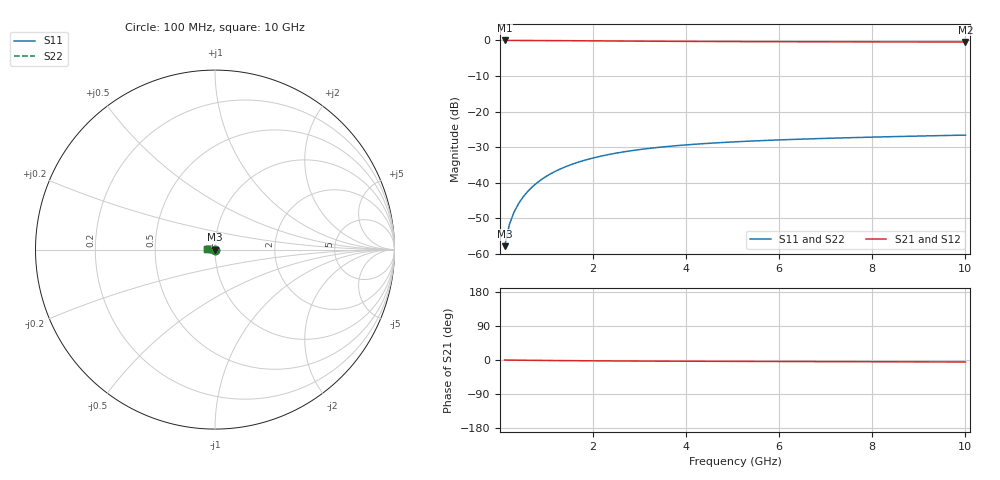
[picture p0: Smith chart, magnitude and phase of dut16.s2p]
! Touchstone file exported from HFSS 2024.1.0
!  File:  C:/UserFiles/LocalFiles/RDL_TSV_Batchsim/temp_TSV1_16_1779368674.aedt
!  Generated:  09:12:09 PM May 21, 2026
!  Design:  TSV1
!  Project:  temp_TSV1_16_1779368674
!  Setup:  Setup1
!  Solution:  Sweep
! Variables:
!  dtsv = 10.75um
!  hbump = 3um
!  htsv = 80.55um
!  lrdl = 252.1521522um
!  p = 40
!  p1 = 55.18um
!  t = 500um
!  trdl = 3um
!  wrdl = 24.89489489um
# GHz S MA R 50.000000
! Terminal data exported
! Port[1] = TSV22_T1
! Port[2] = TSV22_T2
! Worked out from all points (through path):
!   100 points, 100 MHz to 10 GHz, reference 50 ohm
!   highest |S21| = 0.00 dB at 100 MHz (marker M1); lowest = -0.4 dB at 10 GHz (marker M2)
!   lowest |S11| = -57.9 dB at 100 MHz (marker M3), VSWR 1.00, Z = 50 - j0.127 ohm
!   |S11| at or under -10 dB: start of sweep to end of sweep
!   |S22| runs from -57.9 to -26.6 dB; largest |S21 - S12| = 7.3e-15
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0.1  0.001276 -86.3  0.9998 -0.1  0.9998 -0.1  0.001276 -86.3
! Gamma 0 0 0 0
! Port Impedance 50 0 50 0
0.2  0.002543 -90.9  0.9997 -0.3  0.9997 -0.3  0.002543 -90.9
0.3  0.00381 -93.7  0.9995 -0.4  0.9995 -0.4  0.00381 -93.7
0.4  0.005071 -96.1  0.9991 -0.5  0.9991 -0.5  0.005071 -96.1
0.5  0.006322 -98.3  0.9987 -0.6  0.9987 -0.6  0.006322 -98.3
0.6  0.007559 -100.4  0.9983 -0.8  0.9983 -0.8  0.007559 -100.4
0.7  0.008779 -102.4  0.9977 -0.9  0.9977 -0.9  0.008779 -102.4
0.8  0.009978 -104.4  0.9971 -1.0  0.9971 -1.0  0.009978 -104.4
0.9  0.01115 -106.4  0.9965 -1.1  0.9965 -1.1  0.01115 -106.4
1.1  0.01343 -110.2  0.995 -1.3  0.995 -1.3  0.01343 -110.2
1.4  0.01663 -115.5  0.9925 -1.6  0.9925 -1.6  0.01663 -115.5
1.6  0.01861 -119.0  0.9907 -1.8  0.9907 -1.8  0.01861 -119.0
1.8  0.02047 -122.2  0.9888 -2.0  0.9888 -2.0  0.02047 -122.2
2.1  0.02302 -126.9  0.9859 -2.2  0.9859 -2.2  0.02302 -126.9
2.5  0.02601 -132.6  0.9822 -2.5  0.9822 -2.5  0.02601 -132.6
2.9  0.02858 -137.8  0.9786 -2.7  0.9786 -2.7  0.02858 -137.8
3.4  0.03128 -143.6  0.9746 -3.0  0.9746 -3.0  0.03128 -143.6
4.2  0.0347 -151.7  0.9691 -3.3  0.9691 -3.3  0.0347 -151.7
5.1  0.03761 -159.4  0.9643 -3.6  0.9643 -3.6  0.03761 -159.4
6.7  0.04134 -170.4  0.9583 -4.2  0.9583 -4.2  0.04134 -170.4
8.4  0.04428 -179.8  0.9542 -4.7  0.9542 -4.7  0.04428 -179.8
10  0.04662 172.7  0.9515 -5.2  0.9515 -5.2  0.04662 172.7
